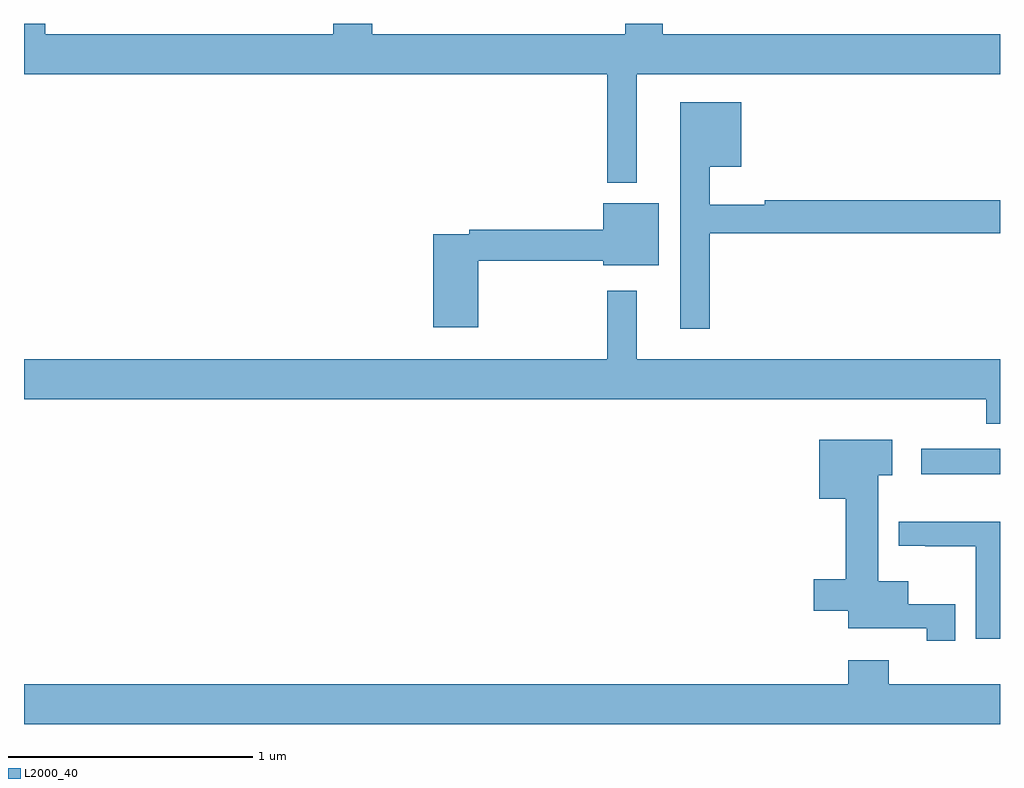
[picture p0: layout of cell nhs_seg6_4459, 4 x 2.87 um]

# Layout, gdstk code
import gdstk
lib = gdstk.Library(unit=1e-6, precision=1e-09)
def R(c, l, rs):  # rectangles x0, y0, x1, y1
    for r in rs: c.add(gdstk.rectangle(r[:2], r[2:], *l))
def P(c, l, *ps):  # polygons
    for p in ps: c.add(gdstk.Polygon(p, *l))
L2000_40 = (2000, 40)

nhs_seg6_4459 = lib.new_cell('nhs_seg6_4459')
R(nhs_seg6_4459, L2000_40, [(376.677,989.654,377,989.758)])
P(nhs_seg6_4459, L2000_40, [(375.511,991.292),(377,991.292),(377,991.456),(375.617,991.456),(375.617,991.5),(375.464,991.5),(375.464,991.456),(374.427,991.456),(374.427,991.5),(374.267,991.5),(374.267,991.456),(373.087,991.456),(373.087,991.5),(373,991.5),(373,991.292),(375.39,991.292),(375.39,990.848),(375.511,990.848)],
  [(375.811,990.64),(377,990.64),(377,990.776),(376.036,990.776),(376.036,990.757),(375.811,990.757),(375.811,990.914),(375.94,990.914),(375.94,991.177),(375.689,991.177),(375.689,990.249),(375.811,990.249)],
  [(374.861,990.528),(375.374,990.528),(375.374,990.509),(375.601,990.509),(375.601,990.763),(375.374,990.763),(375.374,990.656),(374.824,990.656),(374.824,990.636),(374.678,990.636),(374.678,990.255),(374.861,990.255)],
  [(377,990.124),(375.511,990.124),(375.511,990.406),(375.39,990.406),(375.39,990.124),(373,990.124),(373,989.96),(376.943,989.96),(376.943,989.861),(377,989.861)],
  [(376.816,989.121),(376.624,989.121),(376.624,989.215),(376.501,989.215),(376.501,989.65),(376.558,989.65),(376.558,989.794),(376.259,989.794),(376.259,989.552),(376.367,989.552),(376.367,989.223),(376.236,989.223),(376.236,989.093),(376.379,989.093),(376.379,989.021),(376.699,989.021),(376.699,988.971),(376.816,988.971)],
  [(377,989.459),(376.586,989.459),(376.586,989.36),(376.693,989.36),(376.693,989.359),(376.901,989.359),(376.901,988.979),(377,988.979)],
  [(377,988.792),(376.544,988.792),(376.544,988.891),(376.379,988.891),(376.379,988.792),(373,988.792),(373,988.628),(377,988.628)])

lib.write_gds('nhs_seg6_4459.gds')
